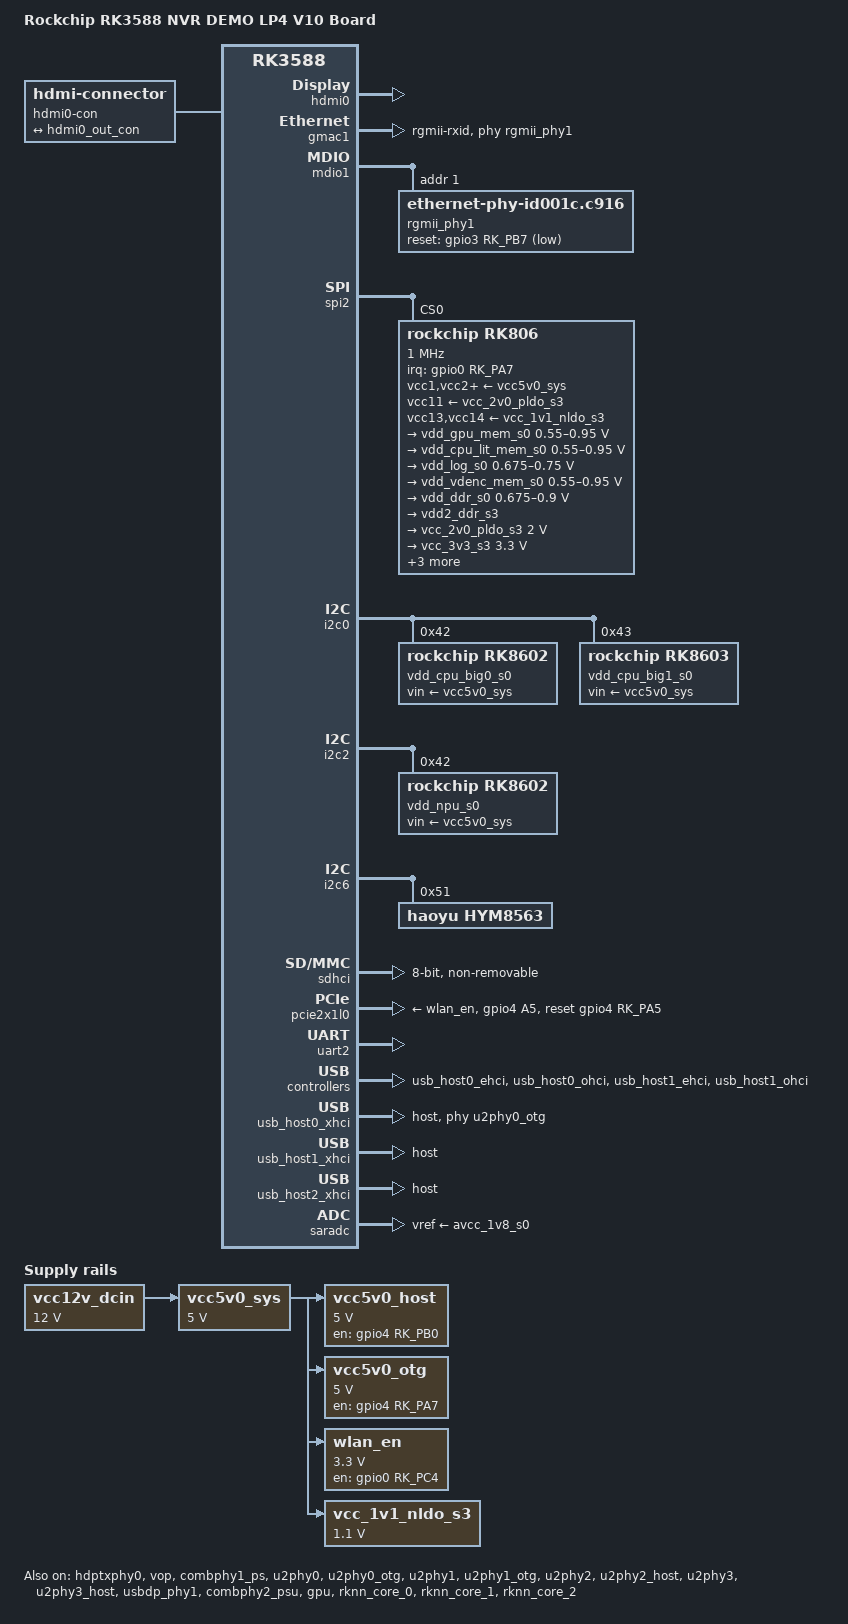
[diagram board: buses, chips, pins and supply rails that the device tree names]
// SPDX-License-Identifier: (GPL-2.0+ OR MIT)
/*
 * Minimal mainline port for the Rockchip RK3588 NVR DEMO LP4 V10 board
 * (a.k.a. "RK-Mini" box). Focus: UART2, eMMC, both GbE, USB host + OTG gadget.
 */

/dts-v1/;

#include <dt-bindings/gpio/gpio.h>
#include <dt-bindings/interrupt-controller/irq.h>
#include <dt-bindings/pinctrl/rockchip.h>
#include <dt-bindings/soc/rockchip,vop2.h>
#include "rk3588.dtsi"

/ {
	model = "Rockchip RK3588 NVR DEMO LP4 V10 Board";
	compatible = "rockchip,rk3588-nvr-demo-v10", "rockchip,rk3588";

	aliases {
		ethernet0 = &gmac1;
		mmc0 = &sdhci;
	};

	chosen {
		stdout-path = "serial2:1500000n8";
	};

	vcc12v_dcin: regulator-vcc12v-dcin {
		compatible = "regulator-fixed";
		regulator-name = "vcc12v_dcin";
		regulator-always-on;
		regulator-boot-on;
		regulator-min-microvolt = <12000000>;
		regulator-max-microvolt = <12000000>;
	};

	vcc5v0_sys: regulator-vcc5v0-sys {
		compatible = "regulator-fixed";
		regulator-name = "vcc5v0_sys";
		regulator-always-on;
		regulator-boot-on;
		regulator-min-microvolt = <5000000>;
		regulator-max-microvolt = <5000000>;
		vin-supply = <&vcc12v_dcin>;
	};

	vcc5v0_host: regulator-vcc5v0-host {
		compatible = "regulator-fixed";
		regulator-name = "vcc5v0_host";
		regulator-boot-on;
		regulator-always-on;
		regulator-min-microvolt = <5000000>;
		regulator-max-microvolt = <5000000>;
		enable-active-high;
		gpio = <&gpio4 RK_PB0 GPIO_ACTIVE_HIGH>;
		pinctrl-names = "default";
		pinctrl-0 = <&vcc5v0_host_en>;
		vin-supply = <&vcc5v0_sys>;
	};

	vcc5v0_otg: regulator-vcc5v0-otg {
		compatible = "regulator-fixed";
		regulator-name = "vcc5v0_otg";
		regulator-min-microvolt = <5000000>;
		regulator-max-microvolt = <5000000>;
		enable-active-high;
		gpio = <&gpio4 RK_PA7 GPIO_ACTIVE_HIGH>;
		pinctrl-names = "default";
		pinctrl-0 = <&vcc5v0_otg_en>;
		vin-supply = <&vcc5v0_sys>;
	};

	hdmi0-con {
		compatible = "hdmi-connector";
		type = "a";

		port {
			hdmi0_con_in: endpoint {
				remote-endpoint = <&hdmi0_out_con>;
			};
		};
	};

	wlan_en: regulator-wlan-en {
		compatible = "regulator-fixed";
		regulator-name = "wlan_en";
		regulator-min-microvolt = <3300000>;
		regulator-max-microvolt = <3300000>;
		regulator-always-on;
		regulator-boot-on;
		enable-active-high;
		gpio = <&gpio0 RK_PC4 GPIO_ACTIVE_HIGH>;
		pinctrl-names = "default";
		pinctrl-0 = <&wifi_poweren_pin>;
		vin-supply = <&vcc5v0_sys>;
	};

	vcc_1v1_nldo_s3: regulator-vcc-1v1-nldo-s3 {
		compatible = "regulator-fixed";
		regulator-name = "vcc_1v1_nldo_s3";
		regulator-always-on;
		regulator-boot-on;
		regulator-min-microvolt = <1100000>;
		regulator-max-microvolt = <1100000>;
		vin-supply = <&vcc5v0_sys>;
	};
};

&hdmi0 {
	enable-gpios = <&gpio4 RK_PB1 GPIO_ACTIVE_HIGH>;
	pinctrl-0 = <&hdmim0_tx0_cec &hdmim0_tx0_hpd
		     &hdmim0_tx0_scl &hdmim0_tx0_sda>;
	pinctrl-names = "default";
	status = "okay";
};

&hdmi0_in {
	hdmi0_in_vp0: endpoint {
		remote-endpoint = <&vp0_out_hdmi0>;
	};
};

&hdmi0_out {
	hdmi0_out_con: endpoint {
		remote-endpoint = <&hdmi0_con_in>;
	};
};

&hdptxphy0 {
	status = "okay";
};

&vop {
	status = "okay";
};

&vop_mmu {
	status = "okay";
};

&vp0 {
	vp0_out_hdmi0: endpoint@ROCKCHIP_VOP2_EP_HDMI0 {
		reg = <ROCKCHIP_VOP2_EP_HDMI0>;
		remote-endpoint = <&hdmi0_in_vp0>;
	};
};

&gmac1 {
	clock_in_out = "output";
	local-mac-address = [86 71 ed 6e 2b a1];
	phy-handle = <&rgmii_phy1>;
	phy-mode = "rgmii-rxid";
	pinctrl-0 = <&gmac1_miim
		     &gmac1_tx_bus2
		     &gmac1_rx_bus2
		     &gmac1_rgmii_clk
		     &gmac1_rgmii_bus>;
	pinctrl-names = "default";
	tx_delay = <0x42>;
	status = "okay";
};

&mdio1 {
	rgmii_phy1: ethernet-phy@1 {
		compatible = "ethernet-phy-id001c.c916";
		reg = <0x1>;
		pinctrl-names = "default";
		pinctrl-0 = <&rtl8211f_rst1>;
		reset-assert-us = <20000>;
		reset-deassert-us = <100000>;
		reset-gpios = <&gpio3 RK_PB7 GPIO_ACTIVE_LOW>;
	};
};

&spi2 {
	status = "okay";
	num-cs = <1>;

	rk806: pmic@0 {
		compatible = "rockchip,rk806";
		reg = <0x0>;
		#gpio-cells = <2>;
		gpio-controller;
		interrupt-parent = <&gpio0>;
		interrupts = <RK_PA7 IRQ_TYPE_LEVEL_LOW>;
		pinctrl-0 = <&pmic_pins>, <&rk806_dvs1_null>,
			    <&rk806_dvs2_null>, <&rk806_dvs3_null>;
		pinctrl-names = "default";
		spi-max-frequency = <1000000>;
		system-power-controller;

		vcc1-supply = <&vcc5v0_sys>;
		vcc2-supply = <&vcc5v0_sys>;
		vcc3-supply = <&vcc5v0_sys>;
		vcc4-supply = <&vcc5v0_sys>;
		vcc5-supply = <&vcc5v0_sys>;
		vcc6-supply = <&vcc5v0_sys>;
		vcc7-supply = <&vcc5v0_sys>;
		vcc8-supply = <&vcc5v0_sys>;
		vcc9-supply = <&vcc5v0_sys>;
		vcc10-supply = <&vcc5v0_sys>;
		vcc11-supply = <&vcc_2v0_pldo_s3>;
		vcc12-supply = <&vcc5v0_sys>;
		vcc13-supply = <&vcc_1v1_nldo_s3>;
		vcc14-supply = <&vcc_1v1_nldo_s3>;
		vcca-supply = <&vcc5v0_sys>;

		pwrkey {
			status = "okay";
		};

		rk806_dvs1_null: dvs1-null-pins {
			pins = "gpio_pwrctrl1";
			function = "pin_fun0";
		};

		rk806_dvs2_null: dvs2-null-pins {
			pins = "gpio_pwrctrl2";
			function = "pin_fun0";
		};

		rk806_dvs3_null: dvs3-null-pins {
			pins = "gpio_pwrctrl3";
			function = "pin_fun0";
		};

		regulators {
			vdd_gpu_mem_s0: vdd_gpu_s0: dcdc-reg1 {
				regulator-boot-on;
				regulator-min-microvolt = <550000>;
				regulator-max-microvolt = <950000>;
				regulator-ramp-delay = <12500>;
				regulator-name = "vdd_gpu_s0";
				regulator-enable-ramp-delay = <400>;
				regulator-state-mem {
					regulator-off-in-suspend;
				};
			};

			vdd_cpu_lit_mem_s0: vdd_cpu_lit_s0: dcdc-reg2 {
				regulator-always-on;
				regulator-boot-on;
				regulator-min-microvolt = <550000>;
				regulator-max-microvolt = <950000>;
				regulator-ramp-delay = <12500>;
				regulator-name = "vdd_cpu_lit_s0";
				regulator-state-mem {
					regulator-off-in-suspend;
				};
			};

			vdd_log_s0: dcdc-reg3 {
				regulator-always-on;
				regulator-boot-on;
				regulator-min-microvolt = <675000>;
				regulator-max-microvolt = <750000>;
				regulator-ramp-delay = <12500>;
				regulator-name = "vdd_log_s0";
				regulator-state-mem {
					regulator-on-in-suspend;
					regulator-suspend-microvolt = <750000>;
				};
			};

			vdd_vdenc_mem_s0: vdd_vdenc_s0: dcdc-reg4 {
				regulator-always-on;
				regulator-boot-on;
				regulator-min-microvolt = <550000>;
				regulator-max-microvolt = <950000>;
				regulator-init-microvolt = <750000>;
				regulator-ramp-delay = <12500>;
				regulator-name = "vdd_vdenc_s0";
				regulator-state-mem {
					regulator-off-in-suspend;
				};
			};

			vdd_ddr_s0: dcdc-reg5 {
				regulator-always-on;
				regulator-boot-on;
				regulator-min-microvolt = <675000>;
				regulator-max-microvolt = <900000>;
				regulator-ramp-delay = <12500>;
				regulator-name = "vdd_ddr_s0";
				regulator-state-mem {
					regulator-off-in-suspend;
					regulator-suspend-microvolt = <850000>;
				};
			};

			vdd2_ddr_s3: dcdc-reg6 {
				regulator-always-on;
				regulator-boot-on;
				regulator-name = "vdd2_ddr_s3";
				regulator-state-mem {
					regulator-on-in-suspend;
				};
			};

			vcc_2v0_pldo_s3: dcdc-reg7 {
				regulator-always-on;
				regulator-boot-on;
				regulator-min-microvolt = <2000000>;
				regulator-max-microvolt = <2000000>;
				regulator-name = "vdd_2v0_pldo_s3";
				regulator-state-mem {
					regulator-on-in-suspend;
					regulator-suspend-microvolt = <2000000>;
				};
			};

			vcc_3v3_s3: dcdc-reg8 {
				regulator-always-on;
				regulator-boot-on;
				regulator-min-microvolt = <3300000>;
				regulator-max-microvolt = <3300000>;
				regulator-name = "vcc_3v3_s3";
				regulator-state-mem {
					regulator-on-in-suspend;
					regulator-suspend-microvolt = <3300000>;
				};
			};

			vddq_ddr_s0: dcdc-reg9 {
				regulator-always-on;
				regulator-boot-on;
				regulator-name = "vddq_ddr_s0";
				regulator-state-mem {
					regulator-off-in-suspend;
				};
			};

			vcc_1v8_s3: dcdc-reg10 {
				regulator-always-on;
				regulator-boot-on;
				regulator-min-microvolt = <1800000>;
				regulator-max-microvolt = <1800000>;
				regulator-name = "vcc_1v8_s3";
				regulator-state-mem {
					regulator-on-in-suspend;
					regulator-suspend-microvolt = <1800000>;
				};
			};

			avcc_1v8_s0: pldo-reg1 {
				regulator-always-on;
				regulator-boot-on;
				regulator-min-microvolt = <1800000>;
				regulator-max-microvolt = <1800000>;
				regulator-name = "avcc_1v8_s0";
				regulator-state-mem {
					regulator-on-in-suspend;
					regulator-suspend-microvolt = <1800000>;
				};
			};

			vcc_1v8_s0: pldo-reg2 {
				regulator-always-on;
				regulator-boot-on;
				regulator-min-microvolt = <1800000>;
				regulator-max-microvolt = <1800000>;
				regulator-name = "vcc_1v8_s0";
				regulator-state-mem {
					regulator-off-in-suspend;
					regulator-suspend-microvolt = <1800000>;
				};
			};

			avdd_1v2_s0: pldo-reg3 {
				regulator-always-on;
				regulator-boot-on;
				regulator-min-microvolt = <1200000>;
				regulator-max-microvolt = <1200000>;
				regulator-name = "avdd_1v2_s0";
				regulator-state-mem {
					regulator-off-in-suspend;
				};
			};

			vcc_3v3_s0: pldo-reg4 {
				regulator-always-on;
				regulator-boot-on;
				regulator-min-microvolt = <3300000>;
				regulator-max-microvolt = <3300000>;
				regulator-name = "vcc_3v3_s0";
				regulator-state-mem {
					regulator-off-in-suspend;
				};
			};

			vccio_sd_s0: pldo-reg5 {
				regulator-always-on;
				regulator-boot-on;
				regulator-min-microvolt = <1800000>;
				regulator-max-microvolt = <3300000>;
				regulator-name = "vccio_sd_s0";
				regulator-state-mem {
					regulator-off-in-suspend;
				};
			};

			pldo6_s3: pldo-reg6 {
				regulator-always-on;
				regulator-boot-on;
				regulator-min-microvolt = <1800000>;
				regulator-max-microvolt = <1800000>;
				regulator-name = "pldo6_s3";
				regulator-state-mem {
					regulator-on-in-suspend;
					regulator-suspend-microvolt = <1800000>;
				};
			};

			vdd_0v75_s3: nldo-reg1 {
				regulator-always-on;
				regulator-boot-on;
				regulator-min-microvolt = <750000>;
				regulator-max-microvolt = <750000>;
				regulator-name = "vdd_0v75_s3";
				regulator-state-mem {
					regulator-on-in-suspend;
					regulator-suspend-microvolt = <750000>;
				};
			};

			vdd_ddr_pll_s0: nldo-reg2 {
				regulator-always-on;
				regulator-boot-on;
				regulator-min-microvolt = <850000>;
				regulator-max-microvolt = <850000>;
				regulator-name = "vdd_ddr_pll_s0";
				regulator-state-mem {
					regulator-off-in-suspend;
					regulator-suspend-microvolt = <850000>;
				};
			};

			avdd_0v75_s0: nldo-reg3 {
				regulator-always-on;
				regulator-boot-on;
				regulator-min-microvolt = <750000>;
				regulator-max-microvolt = <750000>;
				regulator-name = "avdd_0v75_s0";
				regulator-state-mem {
					regulator-off-in-suspend;
				};
			};

			vdd_0v85_s0: nldo-reg4 {
				regulator-always-on;
				regulator-boot-on;
				regulator-min-microvolt = <850000>;
				regulator-max-microvolt = <850000>;
				regulator-name = "vdd_0v85_s0";
				regulator-state-mem {
					regulator-off-in-suspend;
				};
			};

			vdd_0v75_s0: nldo-reg5 {
				regulator-always-on;
				regulator-boot-on;
				regulator-min-microvolt = <750000>;
				regulator-max-microvolt = <750000>;
				regulator-name = "vdd_0v75_s0";
				regulator-state-mem {
					regulator-off-in-suspend;
				};
			};
		};
	};
};

&i2c0 {
	pinctrl-names = "default";
	pinctrl-0 = <&i2c0m2_xfer>;
	status = "okay";

	vdd_cpu_big0_s0: regulator@42 {
		compatible = "rockchip,rk8602";
		reg = <0x42>;
		vin-supply = <&vcc5v0_sys>;
		regulator-name = "vdd_cpu_big0_s0";
		regulator-min-microvolt = <550000>;
		regulator-max-microvolt = <1050000>;
		regulator-ramp-delay = <2300>;
		regulator-boot-on;
		regulator-always-on;
	};

	vdd_cpu_big1_s0: regulator@43 {
		compatible = "rockchip,rk8603", "rockchip,rk8602";
		reg = <0x43>;
		vin-supply = <&vcc5v0_sys>;
		regulator-name = "vdd_cpu_big1_s0";
		regulator-min-microvolt = <550000>;
		regulator-max-microvolt = <1050000>;
		regulator-ramp-delay = <2300>;
		regulator-boot-on;
		regulator-always-on;
	};
};

&i2c2 {
	status = "okay";

	vdd_npu_s0: regulator@42 {
		compatible = "rockchip,rk8602";
		reg = <0x42>;
		vin-supply = <&vcc5v0_sys>;
		regulator-name = "vdd_npu_s0";
		regulator-min-microvolt = <550000>;
		regulator-max-microvolt = <950000>;
		regulator-ramp-delay = <2300>;
		regulator-boot-on;
		regulator-always-on;
	};
};

&i2c6 {
	status = "okay";

	hym8563: rtc@51 {
		compatible = "haoyu,hym8563";
		reg = <0x51>;
		#clock-cells = <0>;
		clock-output-names = "hym8563";
		wakeup-source;
	};
};

&pinctrl {
	rtl8211f {
		rtl8211f_rst1: rtl8211f-rst1 {
			rockchip,pins = <3 RK_PB7 RK_FUNC_GPIO &pcfg_pull_none>;
		};
	};

	usb {
		vcc5v0_host_en: vcc5v0-host-en {
			rockchip,pins = <4 RK_PB0 RK_FUNC_GPIO &pcfg_pull_none>;
		};

		vcc5v0_otg_en: vcc5v0-otg-en {
			rockchip,pins = <4 RK_PA7 RK_FUNC_GPIO &pcfg_pull_none>;
		};
	};

	wireless-wlan {
		wifi_poweren_pin: wifi-poweren-pin {
			rockchip,pins = <0 RK_PC4 RK_FUNC_GPIO &pcfg_pull_none>;
		};

		wifi_host_wake_irq: wifi-host-wake-irq {
			rockchip,pins = <0 RK_PB2 RK_FUNC_GPIO &pcfg_pull_down>;
		};
	};

	pcie2 {
		pcie2_0_rst: pcie2-0-rst {
			rockchip,pins = <4 RK_PA5 RK_FUNC_GPIO &pcfg_pull_none>;
		};
	};
};

&sdhci {
	bus-width = <8>;
	no-sdio;
	no-sd;
	non-removable;
	max-frequency = <200000000>;
	mmc-hs400-1_8v;
	mmc-hs400-enhanced-strobe;
	status = "okay";
};

&combphy1_ps {
	status = "okay";
};

&pcie2x1l0 {
	pinctrl-names = "default";
	pinctrl-0 = <&pcie2_0_rst>;
	reset-gpios = <&gpio4 RK_PA5 GPIO_ACTIVE_HIGH>;
	vpcie3v3-supply = <&wlan_en>;
	max-link-speed = <1>;
	status = "okay";
};

&uart2 {
	pinctrl-0 = <&uart2m0_xfer>;
	pinctrl-names = "default";
	status = "okay";
};

&u2phy0 {
	status = "okay";
};

&u2phy0_otg {
	vbus-supply = <&vcc5v0_otg>;
	status = "okay";
};

&u2phy1 {
	status = "okay";
};

&u2phy1_otg {
	phy-supply = <&vcc5v0_host>;
	status = "okay";
};

&u2phy2 {
	status = "okay";
};

&u2phy2_host {
	phy-supply = <&vcc5v0_host>;
	status = "okay";
};

&u2phy3 {
	status = "okay";
};

&u2phy3_host {
	phy-supply = <&vcc5v0_host>;
	status = "okay";
};

&usbdp_phy1 {
	status = "okay";
};

&usb_host0_ehci {
	status = "okay";
};

&usb_host0_ohci {
	status = "okay";
};

&usb_host1_ehci {
	status = "okay";
};

&usb_host1_ohci {
	status = "okay";
};

/* OTG0: host mode (VBUS via vcc5v0_otg), USB2-only */
&usb_host0_xhci {
	dr_mode = "host";
	maximum-speed = "high-speed";
	phys = <&u2phy0_otg>;
	phy-names = "usb2-phy";
	status = "okay";
};

/* USB3 OTG1: wired to USB-A, host for the USB key */
&usb_host1_xhci {
	dr_mode = "host";
	status = "okay";
};

&combphy2_psu {
	status = "okay";
};

&usb_host2_xhci {
	dr_mode = "host";
	status = "okay";
};

&gpu {
	mali-supply = <&vdd_gpu_s0>;
	sram-supply = <&vdd_gpu_mem_s0>;
	status = "okay";
};

&rknn_core_0 {
	npu-supply = <&vdd_npu_s0>;
	sram-supply = <&vdd_npu_s0>;
	status = "okay";
};

&rknn_core_1 {
	npu-supply = <&vdd_npu_s0>;
	sram-supply = <&vdd_npu_s0>;
	status = "okay";
};

&rknn_core_2 {
	npu-supply = <&vdd_npu_s0>;
	sram-supply = <&vdd_npu_s0>;
	status = "okay";
};

&rknn_mmu_0 {
	status = "okay";
};

&rknn_mmu_1 {
	status = "okay";
};

&rknn_mmu_2 {
	status = "okay";
};

&saradc {
	status = "okay";
	vref-supply = <&avcc_1v8_s0>;
};
